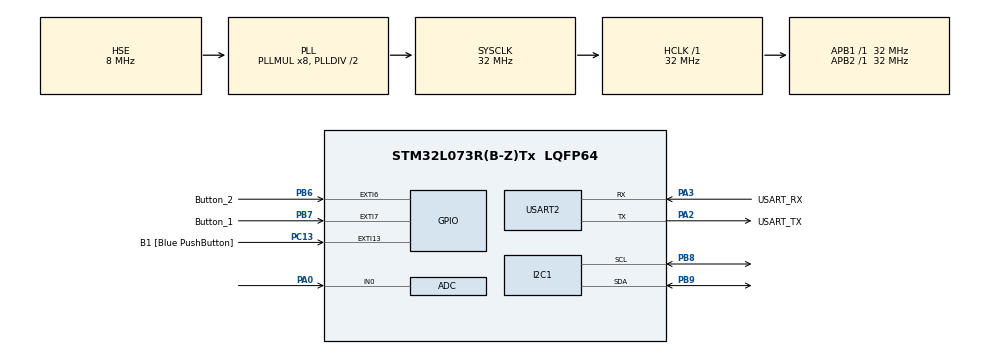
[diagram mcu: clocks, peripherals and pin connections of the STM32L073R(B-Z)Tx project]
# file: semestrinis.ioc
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I2C1.Timing=0x00B07CB4
Mcu.Family=STM32L0
Mcu.Name=STM32L073R(B-Z)Tx
Mcu.Package=LQFP64
NVIC.EXTI4_15_IRQn=true\:0\:0\:false\:false\:true\:true\:true\:true
NVIC.TIM6_DAC_IRQn=true\:0\:0\:false\:false\:true\:true\:true\:true
PA0.Mode=IN0
PA0.Signal=ADC_IN0
PA13.GPIO_Label=TMS
PA13.Mode=Serial_Wire
PA13.Signal=SYS_SWDIO
PA14.GPIO_Label=TCK
PA14.Mode=Serial_Wire
PA14.Signal=SYS_SWCLK
PA2.GPIO_Label=USART_TX
PA2.Mode=Asynchronous
PA2.Signal=USART2_TX
PA3.GPIO_Label=USART_RX
PA3.Mode=Asynchronous
PA3.Signal=USART2_RX
PB6.GPIO_Label=Button_2
PB6.GPIO_ModeDefaultEXTI=GPIO_MODE_IT_FALLING
PB6.GPIO_PuPd=GPIO_PULLUP
PB6.Signal=GPXTI6
PB7.GPIO_Label=Button_1
PB7.GPIO_ModeDefaultEXTI=GPIO_MODE_IT_FALLING
PB7.GPIO_PuPd=GPIO_PULLUP
PB7.Signal=GPXTI7
PB8.Mode=I2C
PB8.Signal=I2C1_SCL
PB9.Mode=I2C
PB9.Signal=I2C1_SDA
PC13.GPIO_Label=B1 [Blue PushButton]
PC13.GPIO_ModeDefaultEXTI=GPIO_MODE_IT_FALLING
PC13.Signal=GPXTI13
PC14-OSC32_IN.Mode=LSE-External-Oscillator
PC14-OSC32_IN.Signal=RCC_OSC32_IN
PC15-OSC32_OUT.Mode=LSE-External-Oscillator
PC15-OSC32_OUT.Signal=RCC_OSC32_OUT
PH0-OSC_IN.GPIO_Label=MCO
PH0-OSC_IN.Mode=HSE-External-Clock-Source
PH0-OSC_IN.Signal=RCC_OSC_IN
ProjectManager.HeapSize=0x200
ProjectManager.StackSize=0x400
ProjectManager.TargetToolchain=MDK-ARM V5.32
RCC.AHBFreq_Value=32000000
RCC.APB1Freq_Value=32000000
RCC.APB1TimFreq_Value=32000000
RCC.APB2Freq_Value=32000000
RCC.APB2TimFreq_Value=32000000
RCC.HCLKFreq_Value=32000000
RCC.HSE_VALUE=8000000
RCC.HSI16_VALUE=16000000
RCC.HSI48_VALUE=48000000
RCC.HSI_VALUE=16000000
RCC.MSI_VALUE=2097000
RCC.PLLMUL=RCC_PLLMUL_8
RCC.PLLSourceVirtual=RCC_PLLSOURCE_HSE
RCC.SYSCLKFreq_VALUE=32000000
RCC.SYSCLKSource=RCC_SYSCLKSOURCE_PLLCLK
RCC.VCOOutputFreq_Value=64000000
USART2.VirtualMode-Asynchronous=VM_ASYNC
VP_TIM6_VS_ClockSourceINT.Mode=Enable_Timer
board=NUCLEO-L073RZ

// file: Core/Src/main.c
/* USER CODE BEGIN Header */
/**
  ******************************************************************************
  * @file           : main.c
  * @brief          : Main program body
  ******************************************************************************
  * @attention
  *
  * Copyright (c) 2026 STMicroelectronics.
  * All rights reserved.
  *
  * This software is licensed under terms that can be found in the LICENSE file
  * in the root directory of this software component.
  * If no LICENSE file comes with this software, it is provided AS-IS.
  *
  ******************************************************************************
  */
/* USER CODE END Header */
#include "main.h"

/* USER CODE BEGIN Includes */
#include "ssd1306.h"
#include "fonts.h"
#include <stdio.h>
#include <math.h>
#include <string.h>
/* USER CODE END Includes */

/* USER CODE BEGIN PD */
#define ADC_MAX 4095
#define VREF 3.3
#define SENSITIVITY 0.185
#define SAMPLE_COUNT 500

/* USER CODE END PD */

ADC_HandleTypeDef hadc;

I2C_HandleTypeDef hi2c1;

TIM_HandleTypeDef htim6;

UART_HandleTypeDef huart2;

/* USER CODE BEGIN PV */

double I_rms = 0.0;
double I_m = 0.0;
double OFFSET = 1.65;

uint32_t last_update = 0;
uint32_t last_oled = 0;
uint32_t last_uart = 0;

volatile uint16_t adc_buffer[SAMPLE_COUNT];
volatile uint32_t sample_index = 0;
volatile uint8_t buffer_full = 0;
/* USER CODE END PV */

void SystemClock_Config(void);
static void MX_GPIO_Init(void);
static void MX_I2C1_Init(void);
static void MX_USART2_UART_Init(void);
static void MX_ADC_Init(void);
static void MX_TIM6_Init(void);

/* USER CODE BEGIN 0 */

// nuskaitome ADC
uint16_t readADC()
{
    HAL_ADC_Start(&hadc);
    HAL_ADC_PollForConversion(&hadc, 10);
    uint16_t value = HAL_ADC_GetValue(&hadc);
    HAL_ADC_Stop(&hadc);
    return value;
}

void HAL_TIM_PeriodElapsedCallback(TIM_HandleTypeDef *htim)
{
	if(htim->Instance == TIM6)
    {

        HAL_ADC_Start(&hadc);
        if(HAL_ADC_PollForConversion(&hadc, 0) == HAL_OK)
        {
            adc_buffer[sample_index++] = HAL_ADC_GetValue(&hadc);
        }

        if(sample_index >= SAMPLE_COUNT)
        {
            sample_index = 0;
            buffer_full = 1;
            HAL_TIM_Base_Stop_IT(&htim6);
        }
    }

}

// gauname sroves reiksme
double getCurrent(uint16_t adc)
{
    double voltage = ((double)adc / ADC_MAX) * VREF;
    return (voltage - OFFSET) / 0.100; //SENSITIVITY
}

void calibrate_zero()
{
    double sum = 0;
    for(int i=0;i<3000;i++)
    {
        sum += ((double)readADC()*3.3)/4095.0;
        HAL_Delay(1);
    }
    OFFSET = sum / 3000.0;
}

// suskaiciuojame I_rms ir I_m
void calculate_current(void)
{
    double sum_sq = 0.0;
    double max    = -1000;
		double min    =  1000;
	static double Irms_smooth = 0.0;

    for (int i = 0; i < SAMPLE_COUNT; i++)
    {
        double current = getCurrent(adc_buffer[i]);

		// Randame min max vertes Peak-to-Peak
        if (current > max) max = current;
        if (current < min) min = current;

        // Triukšmo pasalinimas: slenkstis = 0.005 mA
        if (fabs(current) < 0.05)
            current = 0.0;

		//double temp_current = (fabs(current) < 0.15) ? 0.0 : current;
        sum_sq += current * current;
    }
		double instant_rms = sqrt(sum_sq / SAMPLE_COUNT);
		Irms_smooth = (Irms_smooth * 0.8) + (instant_rms * 0.2);

		if (Irms_smooth < 0.05) {
        I_rms = 0.0;
        I_m = 0.0;
    } else {
        I_rms = Irms_smooth;
        // Amplitude geriau skaiciuoti is RMS, nes max-min yra per daug triuksmingi
        I_m = Irms_smooth * 1.414;
    }
    //I_rms = sqrt(sum_sq / SAMPLE_COUNT); // Vidurine kvadratine verte
    //I_m = (max - min) / 2.0;     // Amplitude
}

// isvedimas i ekrana
void display_current()
{
    char buf[32];

    ssd1306_Fill(Black);

    ssd1306_SetCursor(0, 0);
    sprintf(buf, "Irms:%.1f mA", I_rms*1000);
    ssd1306_WriteString(buf, Font_11x18, White);

    ssd1306_SetCursor(0, 30);
    sprintf(buf, "Im:%.1f mA", I_m*1000);
    ssd1306_WriteString(buf, Font_11x18, White);

    ssd1306_UpdateScreen(&hi2c1);
}

// siuntimas per uart sasaja
void send_uart()
{
    char buf[64];

    sprintf(buf, "Irms=%.3fmA, Im=%.3fmA\r\n", I_rms*1000, I_m*1000);
    HAL_UART_Transmit(&huart2, (uint8_t*)buf, strlen(buf), 100);
}
/* USER CODE END 0 */

int main(void)
{

  /* MCU Configuration--------------------------------------------------------*/

  /* Reset of all peripherals, Initializes the Flash interface and the Systick. */
  HAL_Init();

  /* Configure the system clock */
  SystemClock_Config();

  /* Initialize all configured peripherals */
  MX_GPIO_Init();
  MX_I2C1_Init();
  MX_USART2_UART_Init();
  MX_ADC_Init();
  MX_TIM6_Init();
  /* USER CODE BEGIN 2 */
	ssd1306_Init(&hi2c1);
	ssd1306_Fill(Black);
	ssd1306_UpdateScreen(&hi2c1);

	calibrate_zero();

	HAL_TIM_Base_Start_IT(&htim6);
  /* USER CODE END 2 */

  /* Infinite loop */
  while (1)
  {

    /* USER CODE BEGIN 3 */

		if(buffer_full)
    {

			calculate_current();
      buffer_full = 0;
			HAL_TIM_Base_Start_IT(&htim6);
    }
		// UART kas 200ms
    if (HAL_GetTick() - last_uart >= 200)
    {
        last_uart = HAL_GetTick();
        send_uart();
    }
		// OLED kas 500ms
    if(HAL_GetTick() - last_oled >= 500)
    {
        last_oled = HAL_GetTick();
        display_current();
    }

  }
  /* USER CODE END 3 */
}

void SystemClock_Config(void)
{
  RCC_OscInitTypeDef RCC_OscInitStruct = {0};
  RCC_ClkInitTypeDef RCC_ClkInitStruct = {0};
  RCC_PeriphCLKInitTypeDef PeriphClkInit = {0};

  /** Configure the main internal regulator output voltage
  */
  __HAL_PWR_VOLTAGESCALING_CONFIG(PWR_REGULATOR_VOLTAGE_SCALE1);

  /** Initializes the RCC Oscillators according to the specified parameters
  * in the RCC_OscInitTypeDef structure.
  */
  RCC_OscInitStruct.OscillatorType = RCC_OSCILLATORTYPE_HSE;
  RCC_OscInitStruct.HSEState = RCC_HSE_BYPASS;
  RCC_OscInitStruct.PLL.PLLState = RCC_PLL_ON;
  RCC_OscInitStruct.PLL.PLLSource = RCC_PLLSOURCE_HSE;
  RCC_OscInitStruct.PLL.PLLMUL = RCC_PLLMUL_8;
  RCC_OscInitStruct.PLL.PLLDIV = RCC_PLLDIV_2;
  if (HAL_RCC_OscConfig(&RCC_OscInitStruct) != HAL_OK)
  {
    Error_Handler();
  }

  /** Initializes the CPU, AHB and APB buses clocks
  */
  RCC_ClkInitStruct.ClockType = RCC_CLOCKTYPE_HCLK|RCC_CLOCKTYPE_SYSCLK
                              |RCC_CLOCKTYPE_PCLK1|RCC_CLOCKTYPE_PCLK2;
  RCC_ClkInitStruct.SYSCLKSource = RCC_SYSCLKSOURCE_PLLCLK;
  RCC_ClkInitStruct.AHBCLKDivider = RCC_SYSCLK_DIV1;
  RCC_ClkInitStruct.APB1CLKDivider = RCC_HCLK_DIV1;
  RCC_ClkInitStruct.APB2CLKDivider = RCC_HCLK_DIV1;

  if (HAL_RCC_ClockConfig(&RCC_ClkInitStruct, FLASH_LATENCY_1) != HAL_OK)
  {
    Error_Handler();
  }
  PeriphClkInit.PeriphClockSelection = RCC_PERIPHCLK_USART2|RCC_PERIPHCLK_I2C1;
  PeriphClkInit.Usart2ClockSelection = RCC_USART2CLKSOURCE_PCLK1;
  PeriphClkInit.I2c1ClockSelection = RCC_I2C1CLKSOURCE_PCLK1;
  if (HAL_RCCEx_PeriphCLKConfig(&PeriphClkInit) != HAL_OK)
  {
    Error_Handler();
  }
}

static void MX_ADC_Init(void)
{

  ADC_ChannelConfTypeDef sConfig = {0};

  /** Configure the global features of the ADC (Clock, Resolution, Data Alignment and number of conversion)
  */
  hadc.Instance = ADC1;
  hadc.Init.OversamplingMode = DISABLE;
  hadc.Init.ClockPrescaler = ADC_CLOCK_SYNC_PCLK_DIV2;
  hadc.Init.Resolution = ADC_RESOLUTION_12B;
  hadc.Init.SamplingTime = ADC_SAMPLETIME_1CYCLE_5;
  hadc.Init.ScanConvMode = ADC_SCAN_DIRECTION_FORWARD;
  hadc.Init.DataAlign = ADC_DATAALIGN_RIGHT;
  hadc.Init.ContinuousConvMode = DISABLE;
  hadc.Init.DiscontinuousConvMode = DISABLE;
  hadc.Init.ExternalTrigConvEdge = ADC_EXTERNALTRIGCONVEDGE_NONE;
  hadc.Init.ExternalTrigConv = ADC_SOFTWARE_START;
  hadc.Init.DMAContinuousRequests = DISABLE;
  hadc.Init.EOCSelection = ADC_EOC_SINGLE_CONV;
  hadc.Init.Overrun = ADC_OVR_DATA_PRESERVED;
  hadc.Init.LowPowerAutoWait = DISABLE;
  hadc.Init.LowPowerFrequencyMode = DISABLE;
  hadc.Init.LowPowerAutoPowerOff = DISABLE;
  if (HAL_ADC_Init(&hadc) != HAL_OK)
  {
    Error_Handler();
  }

  /** Configure for the selected ADC regular channel to be converted.
  */
  sConfig.Channel = ADC_CHANNEL_0;
  sConfig.Rank = ADC_RANK_CHANNEL_NUMBER;
  if (HAL_ADC_ConfigChannel(&hadc, &sConfig) != HAL_OK)
  {
    Error_Handler();
  }

}

static void MX_I2C1_Init(void)
{

  hi2c1.Instance = I2C1;
  hi2c1.Init.Timing = 0x00B07CB4;
  hi2c1.Init.OwnAddress1 = 0;
  hi2c1.Init.AddressingMode = I2C_ADDRESSINGMODE_7BIT;
  hi2c1.Init.DualAddressMode = I2C_DUALADDRESS_DISABLE;
  hi2c1.Init.OwnAddress2 = 0;
  hi2c1.Init.OwnAddress2Masks = I2C_OA2_NOMASK;
  hi2c1.Init.GeneralCallMode = I2C_GENERALCALL_DISABLE;
  hi2c1.Init.NoStretchMode = I2C_NOSTRETCH_DISABLE;
  if (HAL_I2C_Init(&hi2c1) != HAL_OK)
  {
    Error_Handler();
  }

  /** Configure Analogue filter
  */
  if (HAL_I2CEx_ConfigAnalogFilter(&hi2c1, I2C_ANALOGFILTER_ENABLE) != HAL_OK)
  {
    Error_Handler();
  }

  /** Configure Digital filter
  */
  if (HAL_I2CEx_ConfigDigitalFilter(&hi2c1, 0) != HAL_OK)
  {
    Error_Handler();
  }

}

static void MX_TIM6_Init(void)
{

  TIM_MasterConfigTypeDef sMasterConfig = {0};

  htim6.Instance = TIM6;
  htim6.Init.Prescaler = 31;
  htim6.Init.CounterMode = TIM_COUNTERMODE_UP;
  htim6.Init.Period = 49;
  htim6.Init.AutoReloadPreload = TIM_AUTORELOAD_PRELOAD_DISABLE;
  if (HAL_TIM_Base_Init(&htim6) != HAL_OK)
  {
    Error_Handler();
  }
  sMasterConfig.MasterOutputTrigger = TIM_TRGO_RESET;
  sMasterConfig.MasterSlaveMode = TIM_MASTERSLAVEMODE_DISABLE;
  if (HAL_TIMEx_MasterConfigSynchronization(&htim6, &sMasterConfig) != HAL_OK)
  {
    Error_Handler();
  }

}

static void MX_USART2_UART_Init(void)
{

  huart2.Instance = USART2;
  huart2.Init.BaudRate = 115200;
  huart2.Init.WordLength = UART_WORDLENGTH_8B;
  huart2.Init.StopBits = UART_STOPBITS_1;
  huart2.Init.Parity = UART_PARITY_NONE;
  huart2.Init.Mode = UART_MODE_TX_RX;
  huart2.Init.HwFlowCtl = UART_HWCONTROL_NONE;
  huart2.Init.OverSampling = UART_OVERSAMPLING_16;
  huart2.Init.OneBitSampling = UART_ONE_BIT_SAMPLE_DISABLE;
  huart2.AdvancedInit.AdvFeatureInit = UART_ADVFEATURE_NO_INIT;
  if (HAL_UART_Init(&huart2) != HAL_OK)
  {
    Error_Handler();
  }

}

static void MX_GPIO_Init(void)
{
  GPIO_InitTypeDef GPIO_InitStruct = {0};

  /* GPIO Ports Clock Enable */
  __HAL_RCC_GPIOC_CLK_ENABLE();
  __HAL_RCC_GPIOH_CLK_ENABLE();
  __HAL_RCC_GPIOA_CLK_ENABLE();
  __HAL_RCC_GPIOB_CLK_ENABLE();

  /*Configure GPIO pin : B1_Pin */
  GPIO_InitStruct.Pin = B1_Pin;
  GPIO_InitStruct.Mode = GPIO_MODE_IT_FALLING;
  GPIO_InitStruct.Pull = GPIO_NOPULL;
  HAL_GPIO_Init(B1_GPIO_Port, &GPIO_InitStruct);

  /*Configure GPIO pins : Button_2_Pin Button_1_Pin */
  GPIO_InitStruct.Pin = Button_2_Pin|Button_1_Pin;
  GPIO_InitStruct.Mode = GPIO_MODE_IT_FALLING;
  GPIO_InitStruct.Pull = GPIO_PULLUP;
  HAL_GPIO_Init(GPIOB, &GPIO_InitStruct);

  /* EXTI interrupt init*/
  HAL_NVIC_SetPriority(EXTI4_15_IRQn, 0, 0);
  HAL_NVIC_EnableIRQ(EXTI4_15_IRQn);

}

void Error_Handler(void)
{
  __disable_irq();
  while (1)
  {
  }
}
